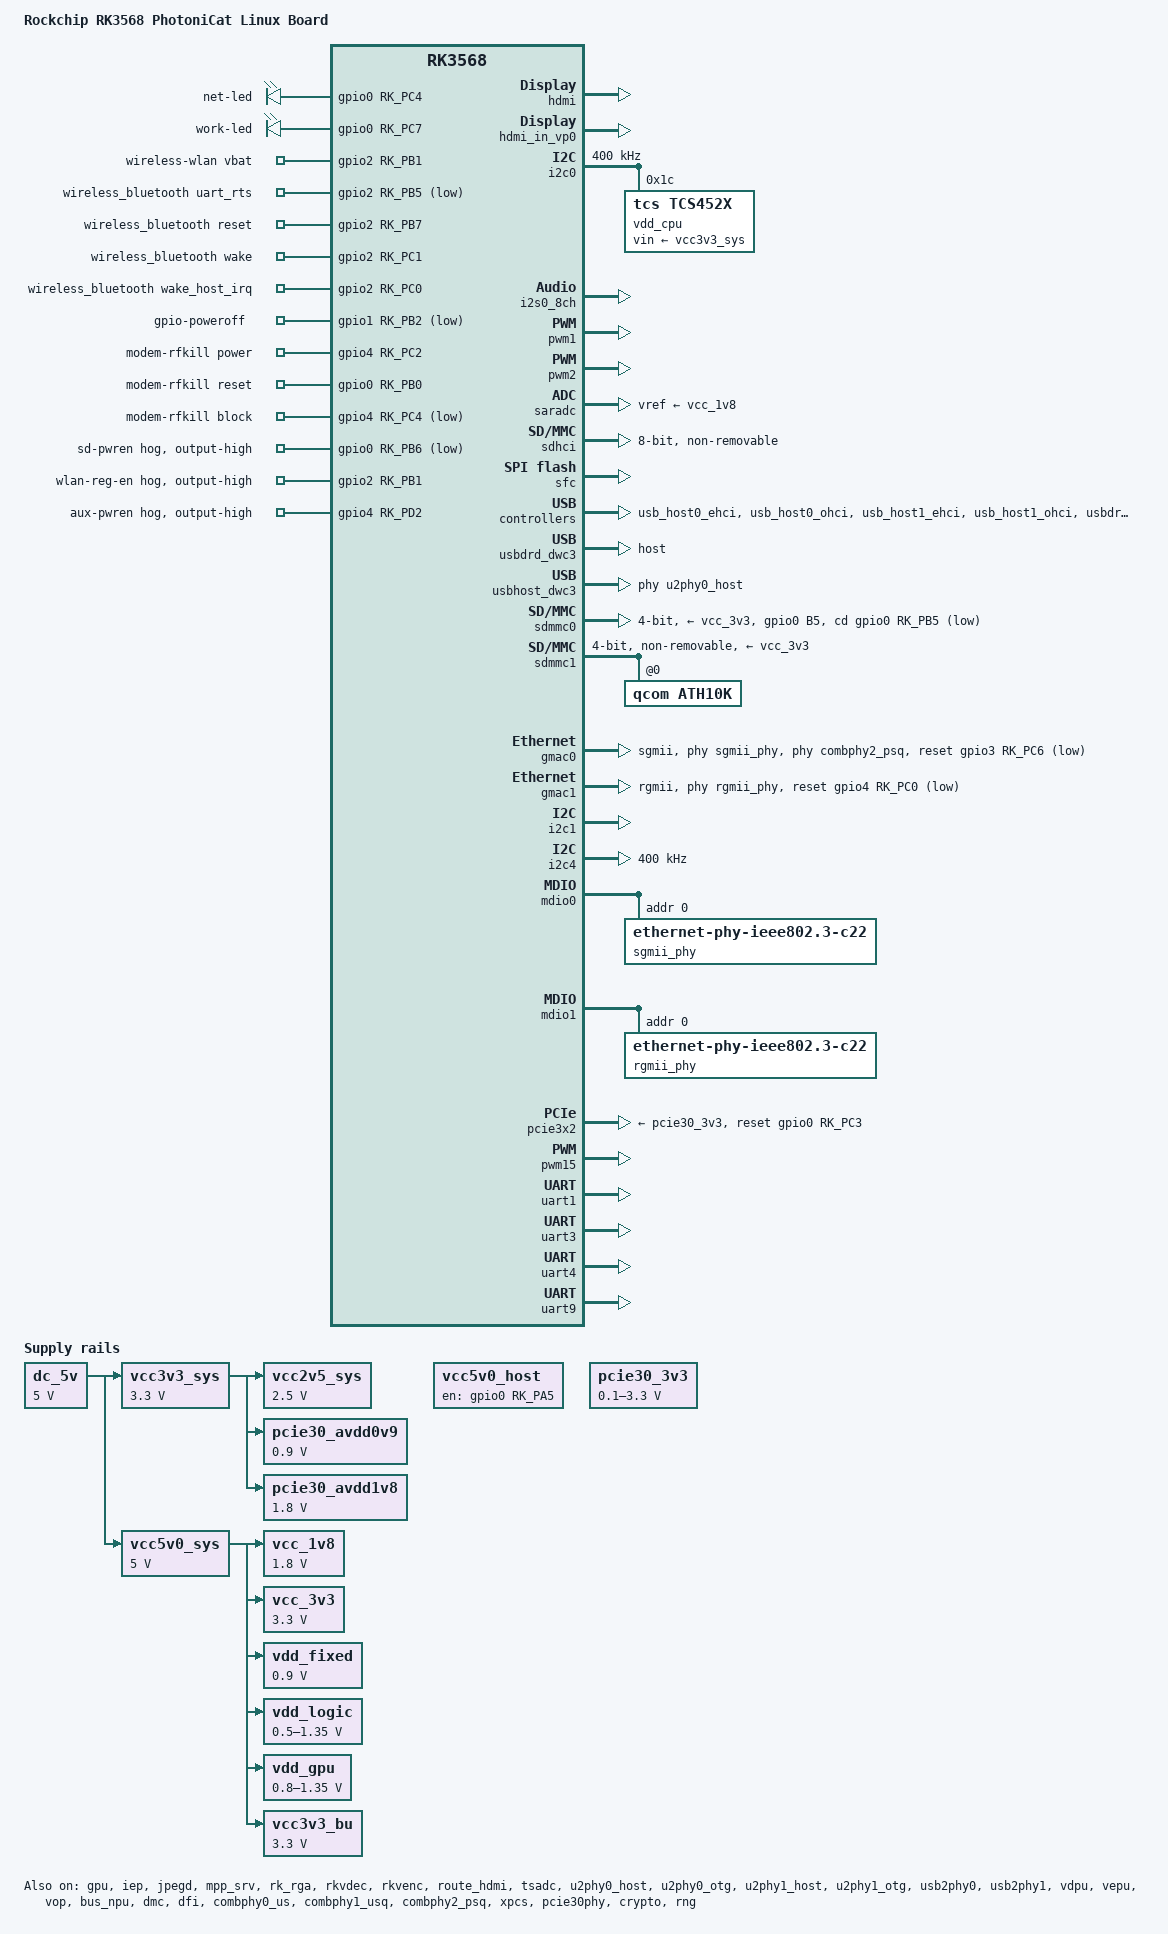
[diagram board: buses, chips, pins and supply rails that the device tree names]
// SPDX-License-Identifier: (GPL-2.0+ OR MIT)
/*
 * Copyright (c) 2020 Rockchip Electronics Co., Ltd.
 *
 */

#include "rk3568.dtsi"
#include <dt-bindings/gpio/gpio.h>
#include <dt-bindings/pinctrl/rockchip.h>
#include <dt-bindings/input/rk-input.h>
#include <dt-bindings/display/drm_mipi_dsi.h>
#include <dt-bindings/sensor-dev.h>
#include <dt-bindings/clock/rk618-cru.h>

/ {

	model = "Rockchip RK3568 PhotoniCat Linux Board";
	compatible = "rockchip,rk3568-photonicat", "rockchip,rk3568";

	chosen: chosen {
		bootargs = "earlycon=uart8250,mmio32,0xfe660000 console=ttyFIQ0 rootfstype=squashfs rootwait coherent_pool=1m systemd.gpt_auto=0 cgroup_enable=memory swapaccount=1 consoleblank=0 video=HDMI-A-1:e";
	};

	dc_5v: dc-5v {
		compatible = "regulator-fixed";
		regulator-name = "dc_5v";
		regulator-always-on;
		regulator-boot-on;
		regulator-min-microvolt = <5000000>;
		regulator-max-microvolt = <5000000>;
	};

	hdmi_sound: hdmi-sound {
		compatible = "simple-audio-card";
		simple-audio-card,format = "i2s";
		simple-audio-card,mclk-fs = <128>;
		simple-audio-card,name = "hdmi-sound";
		status = "okay";
		rockchip,jack-det;

		simple-audio-card,cpu {
				sound-dai = <&i2s0_8ch>;
		};
		simple-audio-card,codec {
				sound-dai = <&hdmi>;
		};
	};
	spdif-sound {
		status = "disabled";
		compatible = "simple-audio-card";
		simple-audio-card,name = "ROCKCHIP,SPDIF";
		simple-audio-card,cpu {
				sound-dai = <&spdif_8ch>;
		};
		simple-audio-card,codec {
				sound-dai = <&spdif_out>;
		};
	};

	spdif_out: spdif-out {
			status = "disabled";
			compatible = "linux,spdif-dit";
			#sound-dai-cells = <0>;
	};

	vcc3v3_sys: vcc3v3-sys {
		compatible = "regulator-fixed";
		regulator-name = "vcc3v3_sys";
		regulator-always-on;
		regulator-boot-on;
		regulator-min-microvolt = <3300000>;
		regulator-max-microvolt = <3300000>;
		vin-supply = <&dc_5v>;
	};

	vcc5v0_sys: vcc5v0-sys {
		compatible = "regulator-fixed";
		regulator-name = "vcc5v0_sys";
		regulator-always-on;
		regulator-boot-on;
		regulator-min-microvolt = <5000000>;
		regulator-max-microvolt = <5000000>;
		vin-supply = <&dc_5v>;
	};

	vcc5v0_host: vcc5v0-host-regulator {
		compatible = "regulator-fixed";
		enable-active-high;
		gpio = <&gpio0 RK_PA5 GPIO_ACTIVE_HIGH>;
		pinctrl-names = "default";
		pinctrl-0 = <&vcc5v0_host_en>;
		regulator-name = "vcc5v0_host";
		regulator-always-on;
	};

	vcc_1v8: vcc_1v8 {
		compatible = "regulator-fixed";
		regulator-name = "vcc_1v8";
		regulator-always-on;
		regulator-boot-on;
		regulator-min-microvolt = <1800000>;
		regulator-max-microvolt = <1800000>;
		vin-supply = <&vcc5v0_sys>;
	};

	vcc_3v3: vcc_3v3{
		compatible = "regulator-fixed";
		regulator-name = "vcc_3v3";
		regulator-always-on;
		regulator-boot-on;
		regulator-min-microvolt = <3300000>;
		regulator-max-microvolt = <3300000>;
		vin-supply = <&vcc5v0_sys>;
	};

	vdd_fixed: vdd-fixed {
		compatible = "regulator-fixed";
		regulator-name = "vdd_fixed";
		regulator-min-microvolt = <900000>;
		regulator-max-microvolt = <900000>;
		regulator-always-on;
		regulator-boot-on;
		vin-supply = <&vcc5v0_sys>;
	};

	vdd_logic: vdd-logic {
		compatible = "pwm-regulator";
		pwms = <&pwm1 0 5000 1>;
		regulator-name = "vdd_logic";
		regulator-min-microvolt = <500000>;
		regulator-max-microvolt = <1350000>;
		regulator-init-microvolt = <900000>;
		regulator-ramp-delay = <6001>;
		regulator-always-on;
		regulator-boot-on;
		regulator-settling-time-up-us = <250>;
		pwm-supply = <&vcc5v0_sys>;
		status = "okay";
	};

	vdd_gpu: vdd-gpu {
		compatible = "pwm-regulator";
		pwms = <&pwm2 0 5000 1>;
		regulator-name = "vdd_gpu";
		regulator-min-microvolt = <800000>;
		regulator-max-microvolt = <1350000>;
		regulator-init-microvolt = <900000>;
		regulator-ramp-delay = <6001>;
		regulator-always-on;
		regulator-boot-on;
		regulator-settling-time-up-us = <250>;
		pwm-supply = <&vcc5v0_sys>;
		status = "okay";
	};

	gpio-leds {
		compatible = "gpio-leds";

		net-led {
			label = "net-led";
			gpios = <&gpio0 RK_PC4 GPIO_ACTIVE_HIGH>;
			default-state = "off";
		};
		work-led {
			label = "work-led";
			gpios = <&gpio0 RK_PC7 GPIO_ACTIVE_HIGH>;
			linux,default-trigger = "timer";
		};
	};

	vcc2v5_sys: vcc2v5-ddr {
		compatible = "regulator-fixed";
		regulator-name = "vcc2v5-sys";
		regulator-always-on;
		regulator-boot-on;
		regulator-min-microvolt = <2500000>;
		regulator-max-microvolt = <2500000>;
		vin-supply = <&vcc3v3_sys>;
	};

	pcie30_3v3: gpio-regulator {
		compatible = "regulator-gpio";
		regulator-name = "pcie30_3v3";
		regulator-min-microvolt = <100000>;
		regulator-max-microvolt = <3300000>;
		gpios = <&gpio0 RK_PA6 GPIO_ACTIVE_HIGH>;
		gpios-states = <0x1>;
		states = <100000 0x0
			  3300000 0x1>;
	};

	pcie30_avdd0v9: pcie30-avdd0v9 {
		compatible = "regulator-fixed";
		regulator-name = "pcie30_avdd0v9";
		regulator-always-on;
		regulator-boot-on;
		regulator-min-microvolt = <900000>;
		regulator-max-microvolt = <900000>;
		vin-supply = <&vcc3v3_sys>;
	};

	pcie30_avdd1v8: pcie30-avdd1v8 {
		compatible = "regulator-fixed";
		regulator-name = "pcie30_avdd1v8";
		regulator-always-on;
		regulator-boot-on;
		regulator-min-microvolt = <1800000>;
		regulator-max-microvolt = <1800000>;
		vin-supply = <&vcc3v3_sys>;
	};

	vcc3v3_bu: vcc3v3-bu {
		compatible = "regulator-fixed";
		regulator-name = "vcc3v3_bu";
		regulator-always-on;
		regulator-boot-on;
		regulator-min-microvolt = <3300000>;
		regulator-max-microvolt = <3300000>;
		vin-supply = <&vcc5v0_sys>;
	};

	wireless-wlan {
		compatible = "wlan-platdata";
		/* wifi_chip_type - wifi chip define
		* ap6210, ap6330, ap6335
		* rtl8188eu, rtl8723bs, rtl8723bu
		* esp8089
		*/
		wifi_chip_type = "ap6210";
		WIFI,vbat_gpio = <&gpio2 RK_PB1 GPIO_ACTIVE_HIGH>;
		status = "okay";
	};
	
	wireless_bluetooth: wireless-bluetooth {
		compatible = "bluetooth-platdata";
		clocks = <&pmucru CLK_RTC_32K>;
		clock-names = "ext_clock";
		//wifi-bt-power-toggle;
		uart_rts_gpios = <&gpio2 RK_PB5 GPIO_ACTIVE_LOW>;
		pinctrl-names = "default", "rts_gpio";
		pinctrl-0 = <&uart1m0_rtsn>;
		pinctrl-1 = <&uart1m0_gpios>;
		BT,reset_gpio    = <&gpio2 RK_PB7 GPIO_ACTIVE_HIGH>;
		BT,wake_gpio     = <&gpio2 RK_PC1 GPIO_ACTIVE_HIGH>;
		BT,wake_host_irq = <&gpio2 RK_PC0 GPIO_ACTIVE_HIGH>;
		status = "okay";
	};
	
	gpio-poweroff {
		compatible = "gpio-poweroff";
		gpios = <&gpio1 RK_PB2 GPIO_ACTIVE_LOW>;
		timeout-ms = <3000>;
	};

	modem-rfkill {
		compatible = "rfkill-gpio-neo";
		name = "modem-rfkill";
		type = "wwan";
		power-gpio = <&gpio4 RK_PC2 GPIO_ACTIVE_HIGH>;
		reset-gpio = <&gpio0 RK_PB0 GPIO_ACTIVE_HIGH>;
		block-gpio = <&gpio4 RK_PC4 GPIO_ACTIVE_LOW>;
		power-on-wait-time = <5000>;
		reset-wait-time = <5000>;
		reset-active-time = <300>;
	};

	fiq-debugger {
		compatible = "rockchip,fiq-debugger";
		rockchip,serial-id = <2>;
		rockchip,wake-irq = <0>;
		/* If enable uart uses irq instead of fiq */
		rockchip,irq-mode-enable = <1>;
		rockchip,baudrate = <1500000>;  /* Only 115200 and 1500000 */
		interrupts = <GIC_SPI 252 IRQ_TYPE_LEVEL_LOW>;
		pinctrl-names = "default";
		pinctrl-0 = <&uart2m0_xfer>;
		status = "okay";
	};

	debug: debug@fd904000 {
		compatible = "rockchip,debug";
		reg = <0x0 0xfd904000 0x0 0x1000>,
			<0x0 0xfd905000 0x0 0x1000>,
			<0x0 0xfd906000 0x0 0x1000>,
			<0x0 0xfd907000 0x0 0x1000>;
	};

	cspmu: cspmu@fd90c000 {
		compatible = "rockchip,cspmu";
		reg = <0x0 0xfd90c000 0x0 0x1000>,
			<0x0 0xfd90d000 0x0 0x1000>,
			<0x0 0xfd90e000 0x0 0x1000>,
			<0x0 0xfd90f000 0x0 0x1000>;
	};
	reserved-memory {
		#address-cells = <2>;
		#size-cells = <2>;
		ranges;
	};
};

&cpu0 {
	cpu-supply = <&vdd_cpu>;
};

&CPU_SLEEP {
	status = "disabled";
};

&dsi0_in_vp0 {
	status = "disabled";
};

&dsi0_in_vp1 {
	status = "disabled";
};

&dsi1_in_vp0 {
	status = "disabled";
};

&dsi1_in_vp1 {
	status = "disabled";
};

&edp {
	status = "disabled";
};

&edp_in_vp0 {
	status = "disabled";
};

&edp_in_vp1 {
	status = "disabled";
};

&edp_phy {
	status = "disabled";
};

&gpu {
	mali-supply = <&vdd_gpu>;
	interrupts = <GIC_SPI 40 IRQ_TYPE_LEVEL_HIGH>,
		<GIC_SPI 41 IRQ_TYPE_LEVEL_HIGH>,
		<GIC_SPI 39 IRQ_TYPE_LEVEL_HIGH>;

	interrupt-names = "job", "mmu", "gpu";
	clocks = <&scmi_clk 1>, <&cru CLK_GPU>;
	clock-names = "gpu", "bus";
	status = "okay";
};

&hdmi {
	status = "okay";
	rockchip,phy-table =
		<92812500  0x8009 0x0000 0x0270>,
		<165000000 0x800b 0x0000 0x026d>,
		<185625000 0x800b 0x0000 0x01ed>,
		<297000000 0x800b 0x0000 0x01ad>,
		<594000000 0x8029 0x0000 0x0088>,
		<000000000 0x0000 0x0000 0x0000>;
};

&hdmi_in_vp0 {
	status = "okay";
};

&hdmi_in_vp1 {
	status = "disabled";
};

&i2c0 {
	status = "okay";
	i2c-scl-rising-time-ns = <160>;
	i2c-scl-falling-time-ns = <30>;
	clock-frequency = <400000>;

	vdd_cpu: tcs4525@1c {
		compatible = "tcs,tcs452x";
		reg = <0x1c>;
		vin-supply = <&vcc3v3_sys>;
		regulator-compatible = "fan53555-reg";
		regulator-name = "vdd_cpu";
		regulator-min-microvolt = <712500>;
		regulator-max-microvolt = <1390000>;
		regulator-init-microvolt = <900000>;
		regulator-ramp-delay = <2300>;
		fcs,suspend-voltage-selector = <1>;
		regulator-boot-on;
		regulator-always-on;
		regulator-state-mem {
			regulator-off-in-suspend;
		};
	};
};

&i2s0_8ch {
	status = "okay";
};

&i2s1_8ch {
	status = "disabled";
};

&iep {
	status = "okay";
};

&iep_mmu {
	status = "okay";
};

&jpegd {
	status = "okay";
};

&jpegd_mmu {
	status = "okay";
};

&video_phy0 {
	status = "disabled";
};

&video_phy1 {
	status = "disabled";
};

&mpp_srv {
	status = "okay";
};

&pmu_io_domains {
	status = "okay";
	pmuio1-supply = <&vcc_3v3>;
	pmuio2-supply = <&vcc_3v3>;
	vccio1-supply = <&vcc_3v3>;
	vccio3-supply = <&vcc_3v3>;
	vccio4-supply = <&vcc_3v3>;
	vccio5-supply = <&vcc_3v3>;
	vccio6-supply = <&vcc_3v3>;
	vccio7-supply = <&vcc_3v3>;
};

&pwm1 {
	status = "okay";
	pinctrl-names = "active";
};

&pwm2 {
	status = "okay";
	pinctrl-names = "active";
};

&rk_rga {
	status = "okay";
};

&rknpu {
	rknpu-supply = <&vdd_gpu>;

	status = "disabled";
};

&rknpu_mmu {
	status = "disabled";
};

&rkvdec {
	status = "okay";
};

&rkvdec_mmu {
	status = "okay";
};

&rkvenc {
	venc-supply = <&vdd_logic>;
	status = "okay";
};

&rkvenc_mmu {
	status = "okay";
};

&route_hdmi {
	status = "okay";
	connect = <&vp0_out_hdmi>;
};

&saradc {
	status = "okay";
	vref-supply = <&vcc_1v8>;
};

&sdhci {
	bus-width = <8>;
	supports-emmc;
	non-removable;
	status = "okay";
};

&sfc {
	status = "okay";
};

&spdif_8ch {
	status = "disabled";
};

&sram {
	reg = <0x0 0xfdcc0000 0x0 0x10000>;
	ranges = <0x0 0x0 0xfdcc0000 0x10000>;
};

&tsadc {
	status = "okay";
};

&u2phy0_host {
	phy-supply = <&vcc5v0_host>;
	status = "okay";
};

&u2phy0_otg {
	phy-supply = <&vcc5v0_host>;
	status = "okay";
};

&u2phy1_host {
	phy-supply = <&vcc5v0_host>;
	status = "okay";
};

&u2phy1_otg {
	phy-supply = <&vcc5v0_host>;
	status = "okay";
};

&usb2phy0 {
	status = "okay";
};

&usb2phy1 {
	status = "okay";
};

&usb_host0_ehci {
	status = "okay";
};

&usb_host0_ohci {
	status = "okay";
};

&usb_host1_ehci {
	status = "okay";
};

&usb_host1_ohci {
	status = "okay";
};

&usbdrd_dwc3 {
	dr_mode = "host";
	extcon = <&usb2phy0>;
	status = "okay";
};

&usbdrd30 {
	status = "okay";
};

&usbhost_dwc3 {
	phys = <&u2phy0_host>;
	phy-names = "usb2-phy";
	maximum-speed = "high-speed";
	status = "okay";
};

&usbhost30 {
	status = "okay";
};

&vdpu {
	status = "okay";
};

&vdpu_mmu {
	status = "okay";
};

&vepu {
	status = "okay";
};

&vepu_mmu {
	status = "okay";
};

&vop {
	status = "okay";
	assigned-clocks = <&cru DCLK_VOP0>, <&cru DCLK_VOP1>;
	assigned-clock-parents = <&pmucru PLL_HPLL>, <&cru PLL_VPLL>;
	disable-win-move;
	disable-afbc-win;
};

&vop_mmu {
	status = "okay";
};

&pinctrl {
	usb {
		vcc5v0_host_en: vcc5v0-host-en {
			rockchip,pins = <0 RK_PA5 RK_FUNC_GPIO &pcfg_pull_none>;
		};
	};

	wireless-bluetooth {
		uart1m0_gpios: uart1m0-gpios { 
			rockchip,pins = <2 RK_PB5 RK_FUNC_GPIO &pcfg_pull_none>;
		};
	};
};

&bus_npu {
        bus-supply = <&vdd_logic>;
        pvtm-supply = <&vdd_cpu>;
        status = "okay";
};


&CPU_SLEEP {
        status = "disabled";
};

&dmc {
	center-supply = <&vdd_logic>;
	status = "okay";
};

&dfi {
	status = "okay";
};

&sdmmc0 {
	max-frequency = <150000000>;
	supports-sd;
	bus-width = <4>;
	/* cap-sd-highspeed; */
	disable-wp;
	no-1-8-v;
	vmmc-supply = <&vcc_3v3>;
	vqmmc-supply = <&vcc_3v3>;
	pinctrl-names = "default";
	pinctrl-0 = <&sdmmc0_bus4 &sdmmc0_clk &sdmmc0_cmd &sdmmc0_det1>;
	cd-gpios = <&gpio0 RK_PB5 GPIO_ACTIVE_LOW>;
	status = "okay";
};



&sdmmc1 {
        #address-cells = <1>;
        #size-cells = <0>;
	max-frequency = <150000000>;
	supports-sdio;
	non-removable;
	bus-width = <4>;
	cap-sd-highspeed;
	cap-sdio-irq;
	disable-wp;
	sd-uhs-sdr104;
	vmmc-supply = <&vcc_3v3>;
	vqmmc-supply = <&vcc_3v3>;
	pinctrl-names = "default";
	pinctrl-0 = <&sdmmc1_bus4 &sdmmc1_clk &sdmmc1_cmd>;
	non-removable;
	status = "okay";
	
	ath10k: wifi@0 {
		reg = <0>;
		compatible = "qcom,ath10k";
                status = "okay";
	};
};

&combphy0_us {
    status = "okay";
};

&combphy1_usq {
	status = "okay";
};

&combphy2_psq{
	rockchip,sgmii-mac-sel = <0>;
	status = "okay";
};

&xpcs {
	status = "okay";
};

&gmac0 {
	phy-mode = "sgmii";

	rockchip,pipegrf = <&pipegrf>;
	rockchip,xpcs = <&xpcs>;

	snps,reset-gpio = <&gpio3 RK_PC6 GPIO_ACTIVE_LOW>;
	snps,reset-active-low;
	/* Reset time is 20ms, 100ms for rtl8211f */
	snps,reset-delays-us = <0 20000 100000>;

	assigned-clocks = <&cru SCLK_GMAC0_RX_TX>;
	assigned-clock-parents = <&gmac0_xpcsclk>;

	pinctrl-names = "default";
	pinctrl-0 = <&gmac0_miim>;

	power-domains = <&power RK3568_PD_PIPE>;
	phys = <&combphy2_psq PHY_TYPE_SGMII>;
	phy-handle = <&sgmii_phy>;

	status = "okay";
};

&gmac1 {
	phy-mode = "rgmii";
	clock_in_out = "output";

	snps,reset-gpio = <&gpio4 RK_PC0 GPIO_ACTIVE_LOW>;
	snps,reset-active-low;
	/* Reset time is 20ms, 100ms for rtl8211f */
	snps,reset-delays-us = <0 20000 100000>;

	assigned-clocks = <&cru SCLK_GMAC1_RX_TX>, <&cru SCLK_GMAC1>;
	assigned-clock-parents = <&cru SCLK_GMAC1_RGMII_SPEED>, <&cru CLK_MAC1_2TOP>;
	assigned-clock-rates = <0>, <125000000>;

	pinctrl-names = "default";
	pinctrl-0 = <&gmac1m1_miim
		     &gmac1m1_clkinout
		     &gmac1m1_rx_bus2
		     &gmac1m1_tx_bus2
		     &gmac1m1_rgmii_clk
		     &gmac1m1_rgmii_bus>;

	tx_delay = <0x30>;
	rx_delay = <0x10>;

	phy-handle = <&rgmii_phy>;
	status = "okay";

};

&i2c1 {
	status = "okay";
};

&i2c3 {
	status = "disabled";
	/* clock-frequency = <400000>; */

};

&i2c4 {
	status = "okay";
	clock-frequency = <400000>;
};

&mdio0 {
	sgmii_phy: phy@0 {
		compatible = "ethernet-phy-ieee802.3-c22";
		reg = <0x0>;
		max-speed = <1000>;
		eee-broken-10gt;
		eee-broken-10gkx4;
		eee-broken-10gkr;
	};
};

&mdio1 {
	rgmii_phy: phy@0 {
		compatible = "ethernet-phy-ieee802.3-c22";
		reg = <0x0>;
	};
};

&pcie30phy {
	status = "okay";
};

&pcie3x2 {
	reset-gpios = <&gpio0 RK_PC3 GPIO_ACTIVE_HIGH>;
	vpcie3v3-supply = <&pcie30_3v3>;
	memory-region = <&dma_trans>;
    busno = <0>;
	status = "okay";
};

&pwm15 {
	compatible = "rockchip,remotectl-pwm";
	pinctrl-names = "default";
	pinctrl-0 = <&pwm15m1_pins>;
	remote_pwm_id = <3>;
	handle_cpu_id = <1>;
	remote_support_psci = <0>;
	status = "okay";

	ir_key1 {
		rockchip,usercode = <0x4040>;
		rockchip,key_table =
			<0xf2	KEY_REPLY>,
			<0xba	KEY_BACK>,
			<0xf4	KEY_UP>,
			<0xf1	KEY_DOWN>,
			<0xef	KEY_LEFT>,
			<0xee	KEY_RIGHT>,
			<0xbd	KEY_HOME>,
			<0xea	KEY_VOLUMEUP>,
			<0xe3	KEY_VOLUMEDOWN>,
			<0xe2	KEY_SEARCH>,
			<0xb2	KEY_POWER>,
			<0xbc	KEY_MUTE>,
			<0xec	KEY_MENU>,
			<0xbf	0x190>,
			<0xe0	0x191>,
			<0xe1	0x192>,
			<0xe9	183>,
			<0xe6	248>,
			<0xe8	185>,
			<0xe7	186>,
			<0xf0	388>,
			<0xbe	0x175>;
	};

	ir_key2 {
		rockchip,usercode = <0xff00>;
		rockchip,key_table =
			<0xf9	KEY_HOME>,
			<0xbf	KEY_BACK>,
			<0xfb	KEY_MENU>,
			<0xaa	KEY_REPLY>,
			<0xb9	KEY_UP>,
			<0xe9	KEY_DOWN>,
			<0xb8	KEY_LEFT>,
			<0xea	KEY_RIGHT>,
			<0xeb	KEY_VOLUMEDOWN>,
			<0xef	KEY_VOLUMEUP>,
			<0xf7	KEY_MUTE>,
			<0xe7	KEY_POWER>,
			<0xfc	KEY_POWER>,
			<0xa9	KEY_VOLUMEDOWN>,
			<0xa8	KEY_PLAYPAUSE>,
			<0xe0	KEY_VOLUMEDOWN>,
			<0xa5	KEY_VOLUMEDOWN>,
			<0xab	183>,
			<0xb7	388>,
			<0xe8	388>,
			<0xf8	184>,
			<0xaf	185>,
			<0xed	KEY_VOLUMEDOWN>,
			<0xee	186>,
			<0xb3	KEY_VOLUMEDOWN>,
			<0xf1	KEY_VOLUMEDOWN>,
			<0xf2	KEY_VOLUMEDOWN>,
			<0xf3	KEY_SEARCH>,
			<0xb4	KEY_VOLUMEDOWN>,
			<0xa4	KEY_SETUP>,
			<0xbe	KEY_SEARCH>;
	};

	ir_key3 {
		rockchip,usercode = <0x1dcc>;
		rockchip,key_table =
			<0xee	KEY_REPLY>,
			<0xf0	KEY_BACK>,
			<0xf8	KEY_UP>,
			<0xbb	KEY_DOWN>,
			<0xef	KEY_LEFT>,
			<0xed	KEY_RIGHT>,
			<0xfc	KEY_HOME>,
			<0xf1	KEY_VOLUMEUP>,
			<0xfd	KEY_VOLUMEDOWN>,
			<0xb7	KEY_SEARCH>,
			<0xff	KEY_POWER>,
			<0xf3	KEY_MUTE>,
			<0xbf	KEY_MENU>,
			<0xf9	0x191>,
			<0xf5	0x192>,
			<0xb3	388>,
			<0xbe	KEY_1>,
			<0xba	KEY_2>,
			<0xb2	KEY_3>,
			<0xbd	KEY_4>,
			<0xf9	KEY_5>,
			<0xb1	KEY_6>,
			<0xfc	KEY_7>,
			<0xf8	KEY_8>,
			<0xb0	KEY_9>,
			<0xb6	KEY_0>,
			<0xb5	KEY_BACKSPACE>;
	};
};

&rgb {
	status = "disabled";
};

&rgb_in_vp2 {
	status = "disabled";
};

&sata1 {
	status = "disabled";
};

&sata2 {
	status = "disabled";
};


&pinctrl {
	tf {
		/omit-if-no-ref/
		sdmmc0_det1: sdmmc0-det1 {
			rockchip,pins =
			/* sdmmc0_det */
			<0 RK_PB5 RK_FUNC_GPIO &pcfg_pull_up>;
		};
	};
};

&uart1 {
	pinctrl-names = "default";
	pinctrl-0 = <&uart1m0_xfer &uart1m0_ctsn>;
	status = "okay";
};

&uart3 {
	pinctrl-names = "default";
	pinctrl-0 = <&uart3m0_xfer>;
	status = "okay";
};

&uart4 {
	pinctrl-names = "default";
	pinctrl-0 = <&uart4m0_xfer>;
	status = "okay";
};

&uart9 {
	pinctrl-names = "default";
	pinctrl-0 = <&uart9m1_xfer>;
	status = "okay";
};

&gpio0 {
        sd-pwren {
                gpio-hog;
                gpios = <RK_PB6 GPIO_ACTIVE_LOW>;
                output-high;
                line-name = "sd-pwren";
        };
};

&gpio2 {
	wlan-reg-en {
                gpio-hog;
                gpios = <RK_PB1 GPIO_ACTIVE_HIGH>;
                output-high;
                line-name = "wlan-reg-en";
	};
};

&crypto {
	status = "okay";
};

&gpio4 {
	aux-pwren {
		gpio-hog;
		gpios = <RK_PD2 GPIO_ACTIVE_HIGH>;
		output-high;
		line-name = "aux-pwren";
        };
};

&reserved_memory {
	ramoops: ramoops@110000 {
		compatible = "ramoops";
		reg = <0x0 0x110000 0x0 0xf0000>;
		record-size = <0x20000>;
		console-size = <0x80000>;
		ftrace-size = <0x00000>;
		pmsg-size = <0x50000>;
	};

	dma_trans: dma_trans@3c000000 {
		reg = <0x0 0x3c000000 0x0 0x04000000>;
	};
};

&rng {
	status = "okay";
};

&rockchip_suspend {
	status = "okay";
};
